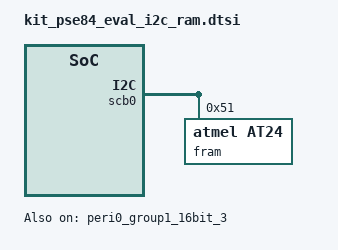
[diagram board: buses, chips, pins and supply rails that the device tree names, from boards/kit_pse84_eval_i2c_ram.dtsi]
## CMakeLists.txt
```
# SPDX-License-Identifier: Apache-2.0

cmake_minimum_required(VERSION 3.28.0)
find_package(Zephyr REQUIRED HINTS $ENV{ZEPHYR_BASE})
project(i2c_ram)

FILE(GLOB app_sources src/*.c)
target_sources(app PRIVATE ${app_sources})
```

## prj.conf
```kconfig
CONFIG_LOG=y
CONFIG_I2C=y
CONFIG_ZTEST=y
```

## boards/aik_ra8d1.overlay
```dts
/*
 * Copyright (c) 2026 Renesas Electronics Corporation
 *
 * SPDX-License-Identifier: Apache-2.0
 */

/ {
	aliases {
		i2c-ram = &pmod6_i2c;
	};
};

&pmod6_i2c {
	status = "okay";
};
```

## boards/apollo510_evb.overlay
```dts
/*
 * Copyright (c) 2025 Ambiq Micro Inc. <www.ambiq.com>
 *
 * SPDX-License-Identifier: Apache-2.0
 *
 * apollo510_evb: IOM1 -> mikroBUS I2C (SCL=GP8, SDA=GP9).
 * EERAM 3.3V Click (Microchip 47L16) at address 0x50.
 * Requires ambiq_mikrobus_i2c + mikroe_eeram_33v_click shields.
 */

/ {
	aliases {
		i2c-ram = &mikrobus_i2c;
	};
};
```

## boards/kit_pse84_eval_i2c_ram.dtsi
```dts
/*
 * SPDX-FileCopyrightText: Copyright (c) 2026 Infineon Technologies AG,
 * SPDX-FileCopyrightText: or an affiliate of Infineon Technologies AG.
 *
 * SPDX-License-Identifier: Apache-2.0
 */

/*
 * Shared I2C RAM (FRAM) test devicetree for the PSOC Edge E84 evaluation kit.
 * The m33, m33/ns and m55 board targets all include the same board devicetree
 * (kit_pse84_eval_common.dtsi), so they use this one overlay body instead of
 * keeping a separate identical copy per target.
 */

/ {
	aliases {
		i2c-ram = &i2c0;
	};
};

/* Configure SCB0 as I2C for FRAM connection */
i2c0: &scb0 {
	compatible = "infineon,i2c";
	#address-cells = <1>;
	#size-cells = <0>;
	status = "okay";

	/*
	 * Use a dedicated peripheral clock divider. The board console UART
	 * (scb2) uses peri0_group1_16bit_1, so the SCB0 I2C must not share it:
	 * the I2C driver programs its divider at init, which would otherwise
	 * change the console baud rate and corrupt the serial output.
	 */
	clocks = <&peri0_group1_16bit_3>;

	pinctrl-0 = <&p8_0_scb0_i2c_scl &p8_1_scb0_i2c_sda>;
	pinctrl-names = "default";

	/* Infineon CY15B104Q I2C FRAM (part of CY15FRAMKIT-001)
	 * This is a 256Kbit (32KB) I2C FRAM device
	 * I2C address is 0x51 (with A0=1, A1=0, A2=0)
	 * Compatible with AT24-style I2C EEPROM interface
	 */
	fram@51 {
		compatible = "atmel,at24";
		reg = <0x51>;
		size = <DT_SIZE_K(32)>;  /* 32KB = 256Kbit */
		pagesize = <256>;
		address-width = <16>;
		timeout = <5>;
	};
};

/* Enable the dedicated peripheral clock divider for SCB0 */
&peri0_group1_16bit_3 {
	status = "okay";
	clock-div = <10>;
};

/* Ensure GPIO port 8 is enabled for SCB0 I2C pins */
&gpio_prt8 {
	status = "okay";
};

/* Configure pin control for I2C SCB0 pins (for FRAM and other I2C devices) */
&p8_0_scb0_i2c_scl {
	drive-open-drain;
	input-enable;
};

&p8_1_scb0_i2c_sda {
	drive-open-drain;
	input-enable;
};
```

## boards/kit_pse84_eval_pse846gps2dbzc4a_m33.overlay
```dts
/*
 * SPDX-FileCopyrightText: Copyright (c) 2026 Infineon Technologies AG,
 * SPDX-FileCopyrightText: or an affiliate of Infineon Technologies AG.
 *
 * SPDX-License-Identifier: Apache-2.0
 */

#include "kit_pse84_eval_i2c_ram.dtsi"
```

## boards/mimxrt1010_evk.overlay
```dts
/*
 * Copyright (c) 2023 Intel Corporation
 * SPDX-License-Identifier: Apache-2.0
 */

/ {
	aliases {
		i2c-ram = &arduino_i2c;
	};
};
```

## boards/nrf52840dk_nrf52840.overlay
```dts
/*
 * Copyright (c) 2023 Intel Corporation
 * SPDX-License-Identifier: Apache-2.0
 */

/ {
	aliases {
		mb85 = &arduino_i2c;
	};
};
```

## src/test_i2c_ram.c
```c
/*
 * Copyright (c) 2024 Intel Corporation
 *
 * SPDX-License-Identifier: Apache-2.0
 */

/*
 * @addtogroup t_i2c_basic
 * @{
 * @defgroup t_i2c_ram_read_write test_i2c_ram_read_write
 * @brief TestPurpose: verify I2C master can read and write
 * @}
 */

#include <zephyr/drivers/i2c.h>
#include <zephyr/pm/device_runtime.h>
#include <zephyr/kernel.h>
#include <zephyr/ztest.h>
#include <zephyr/tc_util.h>

#define RAM_ADDR (0b10100010 >> 1)

#if DT_NODE_HAS_STATUS_OKAY(DT_ALIAS(i2c_ram))
#define I2C_DEV_NODE	DT_ALIAS(i2c_ram)
#define TX_DATA_OFFSET 2
static uint8_t tx_data[9] = {0x00, 0x00, 'Z', 'e', 'p', 'h', 'y', 'r', '\n'};
static uint8_t rx_cmd[2] = {0x00, 0x00};
#else
#error "Please set the correct I2C device and alias for i2c_ram to be status okay"
#endif

uint32_t i2c_cfg = I2C_SPEED_SET(I2C_SPEED_STANDARD) | I2C_MODE_CONTROLLER;
struct i2c_msg msgs[2];
uint8_t rx_data[7];

const struct device *i2c_dev = DEVICE_DT_GET(I2C_DEV_NODE);

#ifdef CONFIG_I2C_RTIO
static void i2c_ram_rtio_before(void);
#endif

/* Address from datasheet is 0b1010xxxr where x bits are additional
 * memory address bits and r is the r/w i2c bit.
 *
 * However... the address needs to be shifted into the lower 7 bits as
 * Zephyr expects a 7bit device address and shifts this left to set the
 * i2c r/w bit.
 */

static void *i2c_ram_setup(void)
{
	int ret;
	uint32_t i2c_cfg_tmp;

	zassert_true(device_is_ready(i2c_dev), "I2C device is not read");

	/* 1. Verify i2c_configure() */
	zassert_ok(i2c_configure(i2c_dev, i2c_cfg), "I2C config failed");

	/* 2. Verify i2c_get_config(), optional API */
	ret = i2c_get_config(i2c_dev, &i2c_cfg_tmp);
	if (ret != -ENOSYS) {
		zassert_equal(i2c_cfg, i2c_cfg_tmp,
			      "I2C get_config returned invalid config");
	}

	return NULL;
}


static uint16_t addr;

static void i2c_ram_before(void *f)
{
	tx_data[0] = (addr >> 8) & 0xFF;
	tx_data[1] = (addr) & 0xFF;
	rx_cmd[0] = (addr >> 8) & 0xFF;
	rx_cmd[1] = (addr) & 0xFF;
	addr += ARRAY_SIZE(tx_data) - TX_DATA_OFFSET;
	memset(rx_data, 0, ARRAY_SIZE(rx_data));

#ifdef CONFIG_I2C_RTIO
	i2c_ram_rtio_before();
#endif

#ifdef CONFIG_PM_DEVICE_RUNTIME
	pm_device_runtime_get(i2c_dev);
#endif
}

static void i2c_ram_after(void *f)
{
#ifdef CONFIG_PM_DEVICE_RUNTIME
	pm_device_runtime_put(i2c_dev);
#endif
}

ZTEST(i2c_ram, test_ram_transfer)
{
	TC_PRINT("ram using i2c_transfer from thread %p addr %x\n", k_current_get(), addr);

	msgs[0].buf = tx_data;
	msgs[0].len = ARRAY_SIZE(tx_data);
	msgs[0].flags = I2C_MSG_WRITE | I2C_MSG_STOP;

	zassert_ok(i2c_transfer(i2c_dev, msgs, 1, RAM_ADDR),
		   "I2C write to fram failed");

	/* Write the address and read the data back */
	msgs[0].buf = rx_cmd;
	msgs[0].len = ARRAY_SIZE(rx_cmd);
	msgs[0].flags = I2C_MSG_WRITE;
	msgs[1].buf = rx_data;
	msgs[1].len = 7;
	msgs[1].flags = I2C_MSG_RESTART | I2C_MSG_READ | I2C_MSG_STOP;

	zassert_ok(i2c_transfer(i2c_dev, msgs, 2, RAM_ADDR),
		   "I2C read from fram failed");

	zassert_equal(memcmp(&tx_data[TX_DATA_OFFSET], &rx_data[0], ARRAY_SIZE(rx_data)), 0,
		      "Written and Read data should match");
}

ZTEST(i2c_ram, test_ram_write_read)
{
	TC_PRINT("ram using i2c_write and i2c_write_read from thread %p addr %x\n",
		 k_current_get(), addr);

	zassert_ok(i2c_write(i2c_dev, tx_data, ARRAY_SIZE(tx_data), RAM_ADDR),
		   "I2C write to fram failed");

	zassert_ok(i2c_write_read(i2c_dev, RAM_ADDR, rx_cmd, ARRAY_SIZE(rx_cmd),
				  rx_data, ARRAY_SIZE(rx_data)),
		   "I2C read from fram failed");

	zassert_equal(memcmp(&tx_data[TX_DATA_OFFSET], &rx_data[0], ARRAY_SIZE(rx_data)), 0,
		      "Written and Read data should match");
}


#ifdef CONFIG_I2C_CALLBACK
K_SEM_DEFINE(transfer_sem, 0, 1);

static void i2c_ram_transfer_cb(const struct device *dev, int result, void *data)
{
	struct k_sem *s = data;

	k_sem_give(s);
}

ZTEST(i2c_ram, test_ram_transfer_cb)
{
	msgs[0].buf = tx_data;
	msgs[0].len = ARRAY_SIZE(tx_data);
	msgs[0].flags = I2C_MSG_WRITE | I2C_MSG_STOP;

	zassert_ok(i2c_transfer_cb(i2c_dev, msgs, 1, RAM_ADDR,
				   i2c_ram_transfer_cb,
				   &transfer_sem), "I2C write to fram failed");

	k_sem_take(&transfer_sem, K_FOREVER);

	/* Write the address and read the data back */
	msgs[0].buf = rx_cmd;
	msgs[0].len = ARRAY_SIZE(rx_cmd);
	msgs[0].flags = I2C_MSG_WRITE;
	msgs[1].buf = rx_data;
	msgs[1].len = ARRAY_SIZE(rx_data);
	msgs[1].flags = I2C_MSG_RESTART | I2C_MSG_READ | I2C_MSG_STOP;

	zassert_ok(i2c_transfer_cb(i2c_dev, msgs, 2, RAM_ADDR,
			   i2c_ram_transfer_cb, &transfer_sem),
		   "I2C read from fram failed");

	k_sem_take(&transfer_sem, K_FOREVER);

	zassert_equal(memcmp(&tx_data[TX_DATA_OFFSET], &rx_data[0], ARRAY_SIZE(rx_data)), 0,
		      "Written and Read data should match");

}
#endif /* CONFIG_I2C_CALLBACK */

#ifdef CONFIG_I2C_RTIO
#include <zephyr/rtio/rtio.h>

I2C_IODEV_DEFINE(i2c_iodev, I2C_DEV_NODE, RAM_ADDR);
RTIO_DEFINE(i2c_rtio, 2, 2);

static void i2c_ram_rtio_before(void)
{
	struct rtio_cqe *cqe;

	while ((cqe = rtio_cqe_consume(&i2c_rtio))) {
		rtio_cqe_release(&i2c_rtio, cqe);
	}
}

static void check_completion(struct rtio_cqe *cqe, const char *msg)
{
	int32_t result;

	result = cqe->result;
	rtio_cqe_release(&i2c_rtio, cqe);
	if (result) {
		zassert_ok(result, "%s", msg);
	}
}

ZTEST(i2c_ram, test_ram_rtio)
{
	struct rtio_sqe *wr_sqe, *rd_sqe;
	struct rtio_cqe *wr_cqe, *rd_cqe;

	TC_PRINT("submitting write from thread %p addr %x\n", k_current_get(), addr);
	wr_sqe = rtio_sqe_acquire(&i2c_rtio);
	rtio_sqe_prep_write(wr_sqe, &i2c_iodev, 0, tx_data, ARRAY_SIZE(tx_data), tx_data);
	wr_sqe->iodev_flags |= RTIO_IODEV_I2C_STOP;
	zassert_ok(rtio_submit(&i2c_rtio, 1), "submit should succeed");

	wr_cqe = rtio_cqe_consume(&i2c_rtio);
	check_completion(wr_cqe, "i2c write should succeed");

	/* Write the address and read the data back */
	msgs[0].len = ARRAY_SIZE(rx_cmd);
	msgs[0].flags = I2C_MSG_WRITE;
	msgs[1].buf = rx_data;
	msgs[1].len = ARRAY_SIZE(rx_data);
	msgs[1].flags = I2C_MSG_RESTART | I2C_MSG_READ | I2C_MSG_STOP;

	wr_sqe = rtio_sqe_acquire(&i2c_rtio);
	rd_sqe = rtio_sqe_acquire(&i2c_rtio);
	rtio_sqe_prep_write(wr_sqe, &i2c_iodev, 0, rx_cmd, ARRAY_SIZE(rx_cmd), rx_cmd);
	rtio_sqe_prep_read(rd_sqe, &i2c_iodev, 0, rx_data, ARRAY_SIZE(rx_data), rx_data);
	wr_sqe->flags |= RTIO_SQE_TRANSACTION;
	rd_sqe->iodev_flags |= RTIO_IODEV_I2C_STOP | RTIO_IODEV_I2C_RESTART;
	zassert_ok(rtio_submit(&i2c_rtio, 2), "submit should succeed");

	wr_cqe = rtio_cqe_consume(&i2c_rtio);
	check_completion(wr_cqe, "i2c write should succeed");
	rd_cqe = rtio_cqe_consume(&i2c_rtio);
	check_completion(rd_cqe, "i2c read should succeed");

	zassert_equal(memcmp(&tx_data[TX_DATA_OFFSET], &rx_data[0], ARRAY_SIZE(rx_data)), 0,
		      "Written and Read data should match");
}

ZTEST(i2c_ram, test_ram_rtio_write_with_transaction)
{
	/** Many drivers and API rely on two write OPs in a single transaction
	 * to write register addr + register data in a single go.
	 * Hence why is validated in a separate test-case.
	 */
	struct rtio_sqe *wraddr_sqe, *wrdata_sqe, *wr_sqe, *rd_sqe;
	struct rtio_cqe *wr_cqe, *rd_cqe;

	uint8_t reg_data[] = {'h', 'e', 'l', 'l', 'o'};

	TC_PRINT("submitting write from thread %p addr %x\n", k_current_get(), addr);
	wraddr_sqe = rtio_sqe_acquire(&i2c_rtio);
	rtio_sqe_prep_write(wraddr_sqe, &i2c_iodev, 0, (uint8_t *)&addr, sizeof(addr), NULL);
	wraddr_sqe->flags |= RTIO_SQE_TRANSACTION;

	wrdata_sqe = rtio_sqe_acquire(&i2c_rtio);
	rtio_sqe_prep_write(wrdata_sqe, &i2c_iodev, 0, reg_data, ARRAY_SIZE(reg_data), NULL);
	wrdata_sqe->iodev_flags |= RTIO_IODEV_I2C_STOP;

	zassert_ok(rtio_submit(&i2c_rtio, 2), "submit should succeed");

	wr_cqe = rtio_cqe_consume(&i2c_rtio);
	check_completion(wr_cqe, "i2c write should succeed");
	wr_cqe = rtio_cqe_consume(&i2c_rtio);
	check_completion(wr_cqe, "i2c write should succeed");

	/** Now read the register address to confirm the write was performed */
	wr_sqe = rtio_sqe_acquire(&i2c_rtio);
	rd_sqe = rtio_sqe_acquire(&i2c_rtio);
	rtio_sqe_prep_write(wr_sqe, &i2c_iodev, 0, (uint8_t *)&addr, sizeof(addr), NULL);
	rtio_sqe_prep_read(rd_sqe, &i2c_iodev, 0, rx_data, ARRAY_SIZE(reg_data), NULL);
	wr_sqe->flags |= RTIO_SQE_TRANSACTION;
	rd_sqe->iodev_flags |= RTIO_IODEV_I2C_STOP | RTIO_IODEV_I2C_RESTART;
	zassert_ok(rtio_submit(&i2c_rtio, 2), "submit should succeed");

	wr_cqe = rtio_cqe_consume(&i2c_rtio);
	check_completion(wr_cqe, "i2c write should succeed");
	rd_cqe = rtio_cqe_consume(&i2c_rtio);
	check_completion(rd_cqe, "i2c read should succeed");

	zassert_equal(memcmp(&reg_data[0], &rx_data[0], ARRAY_SIZE(reg_data)), 0,
		      "Written and Read data should match");
}

static enum isr_rtio_state {
	INIT,
	WRITE_WAIT,
	READ_CMD_WAIT,
	READ_DATA_WAIT,
	DONE
} isr_state = INIT;

K_SEM_DEFINE(ram_rtio_isr_sem, 0, 1);

void ram_rtio_isr(struct k_timer *tid)
{
	struct rtio_sqe *wr_sqe, *rd_sqe;
	struct rtio_cqe *wr_cqe, *rd_cqe;

	switch (isr_state) {
	case INIT:
		TC_PRINT("timer submitting write, addr %x\n", addr);
		wr_sqe = rtio_sqe_acquire(&i2c_rtio);
		rtio_sqe_prep_write(wr_sqe, &i2c_iodev, 0, tx_data, ARRAY_SIZE(tx_data), tx_data);
		wr_sqe->iodev_flags |= RTIO_IODEV_I2C_STOP;
		zassert_ok(rtio_submit(&i2c_rtio, 0), "submit should succeed");
		isr_state += 1;
		break;
	case WRITE_WAIT:
		wr_cqe = rtio_cqe_consume(&i2c_rtio);
		if (wr_cqe) {
			TC_PRINT("timer checking write result, submitting read\n");
			check_completion(wr_cqe, "i2c write should succeed");

			/* Write the address and read the data back */
			msgs[0].len = ARRAY_SIZE(rx_cmd);
			msgs[0].flags = I2C_MSG_WRITE;
			msgs[1].buf = rx_data;
			msgs[1].len = ARRAY_SIZE(rx_data);
			msgs[1].flags = I2C_MSG_RESTART | I2C_MSG_READ | I2C_MSG_STOP;

			wr_sqe = rtio_sqe_acquire(&i2c_rtio);
			rd_sqe = rtio_sqe_acquire(&i2c_rtio);
			rtio_sqe_prep_write(wr_sqe, &i2c_iodev, 0, rx_cmd,
					    ARRAY_SIZE(rx_cmd), rx_cmd);
			rtio_sqe_prep_read(rd_sqe, &i2c_iodev, 0, rx_data,
					   ARRAY_SIZE(rx_data), rx_data);
			wr_sqe->flags |= RTIO_SQE_TRANSACTION;
			rd_sqe->iodev_flags |= RTIO_IODEV_I2C_STOP | RTIO_IODEV_I2C_RESTART;
			zassert_ok(rtio_submit(&i2c_rtio, 0), "submit should succeed");
			isr_state += 1;
		}
		break;
	case READ_CMD_WAIT:
		wr_cqe = rtio_cqe_consume(&i2c_rtio);
		if (wr_cqe) {
			TC_PRINT("read command complete\n");
			check_completion(wr_cqe, "i2c read command should succeed");
			isr_state += 1;
		}
		break;
	case READ_DATA_WAIT:
		rd_cqe = rtio_cqe_consume(&i2c_rtio);
		if (rd_cqe) {
			TC_PRINT("read data complete\n");
			check_completion(rd_cqe, "i2c read data should succeed");
			isr_state += 1;
			k_sem_give(&ram_rtio_isr_sem);
			k_timer_stop(tid);
		}
		break;
	default:

		zassert_ok(-1, "Should not get here");
	}
}

K_TIMER_DEFINE(ram_rtio_isr_timer, ram_rtio_isr, NULL);


ZTEST(i2c_ram, test_ram_rtio_isr)
{
	k_timer_start(&ram_rtio_isr_timer, K_MSEC(1), K_MSEC(1));
	k_sem_take(&ram_rtio_isr_sem, K_FOREVER);
}

#endif /* CONFIG_I2C_RTIO */

ZTEST_SUITE(i2c_ram, NULL, i2c_ram_setup, i2c_ram_before, i2c_ram_after, NULL);
```
